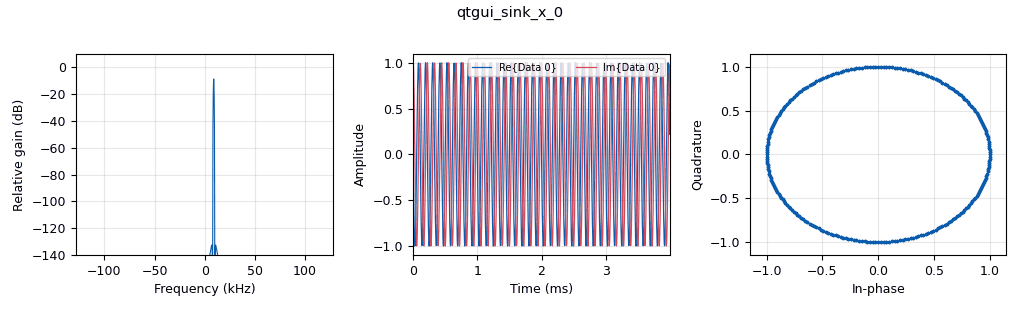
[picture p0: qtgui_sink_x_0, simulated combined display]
options:
  parameters:
    generate_options: qt_gui
    id: SSB_rcv_test
    output_language: python
    title: SSB_rcv_test
  states: {}

blocks:
- name: samp_rate
  id: variable
  parameters:
    value: '256000'
  states: {}
- name: analog_sig_source_x_0
  id: analog_sig_source_x
  parameters:
    amp: '1'
    freq: '10000'
    offset: '0'
    phase: '0'
    samp_rate: samp_rate
    type: complex
    waveform: analog.GR_COS_WAVE
  states: {}
- name: analog_sig_source_x_0_0
  id: analog_sig_source_x
  parameters:
    amp: '1'
    freq: '-1000'
    offset: '0'
    phase: '0'
    samp_rate: samp_rate
    type: complex
    waveform: analog.GR_COS_WAVE
  states: {}
- name: blocks_multiply_xx_0
  id: blocks_multiply_xx
  parameters:
    type: complex
  states: {}
- name: blocks_throttle_0
  id: blocks_throttle
  parameters:
    samples_per_second: samp_rate
    type: complex
  states: {}
- name: qtgui_sink_x_0
  id: qtgui_sink_x
  parameters:
    bw: samp_rate
    fc: '0'
    fftsize: '1024'
    type: complex
  states: {}

connections:
- [analog_sig_source_x_0, '0', blocks_multiply_xx_0, '0']
- [analog_sig_source_x_0_0, '0', blocks_multiply_xx_0, '1']
- [blocks_multiply_xx_0, '0', blocks_throttle_0, '0']
- [blocks_throttle_0, '0', qtgui_sink_x_0, '0']

metadata:
  file_format: 1
